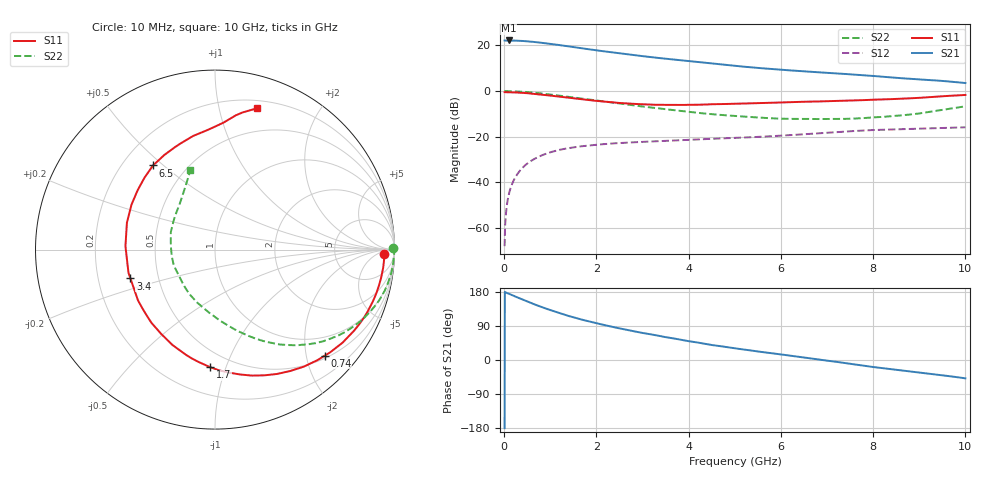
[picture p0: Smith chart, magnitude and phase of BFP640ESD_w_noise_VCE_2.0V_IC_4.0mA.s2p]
! Infineon Technologies  Discrete & RF Semiconductors
! BFP640ESD
! VCE =  2.0 V,  IC =  4.0 mA
! Common Emitter S-Parameters:  Jan 2016
# GHz  S  MA  R  50
!  f  S11  S21  S12  S22
! GHz  MAG  ANG  MAG  ANG  MAG  ANG  MAG  ANG
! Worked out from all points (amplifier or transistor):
!   233 points, 10 MHz to 10 GHz, reference 50 ohm
!   highest |S21| = 22.1 dB at 100 MHz (marker M1)
!   |S21| within 3 dB of that: start of sweep to 1.537 GHz
!   unconditionally stable (mu >= 1): 4.88 GHz to 9.145 GHz
!   at 200 MHz: K = 0.04, MSG = 30.8 dB, |S12| = -39.4 dB
!   at 1.74 GHz: K = 0.40, MSG = 21.3 dB, |S12| = -24.1 dB
!   at 10 GHz: K = 0.82, MSG = 9.7 dB, |S12| = -15.9 dB
!   lowest NFmin = 0.56 dB at 450 MHz
!   S11 on the Smith chart (normalised r, x): 10 MHz: 28, -13; 740 MHz: 0.55, -2.36; 1.7 GHz: 0.38, -0.88; 3.4 GHz: 0.34, -0.15; 6.5 GHz: 0.33, +0.46; 10 GHz: 0.27, +1.30
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0.01  0.9435 -1.6  12.78 -179.9  0.0004 157.3  0.9893 0.5
0.03  0.9432 -2.0  12.73 178.7  0.0016 92.1  0.9989 -1.1
0.1  0.9425 -6.1  12.8 175.0  0.0054 86.3  0.9964 -3.7
0.2  0.9354 -12.2  12.78 169.8  0.0107 82.7  0.9907 -7.6
0.36  0.918 -22.0  12.57 161.5  0.0189 76.8  0.9728 -13.6
0.6  0.8798 -36.1  12.01 149.4  0.0302 68.6  0.9302 -22.0
0.74  0.8505 -44.0  11.61 143.0  0.036 64.1  0.9003 -26.6
0.9  0.8184 -52.9  11.12 135.9  0.0421 59.5  0.8643 -31.6
1.2  0.7524 -68.6  10.15 123.6  0.0515 51.8  0.7916 -40.1
1.4  0.7098 -78.6  9.483 116.1  0.0563 47.3  0.7437 -45.1
1.68  0.6587 -91.5  8.657 106.7  0.0617 42.2  0.6832 -51.2
1.7  0.6554 -92.4  8.602 106.0  0.0621 41.9  0.6791 -51.6
2.2  0.5817 -114.1  7.328 91.4  0.0692 35.1  0.5848 -61.3
2.58  0.5414 -130.1  6.535 81.3  0.0733 31.0  0.5191 -68.4
3  0.5142 -146.5  5.807 71.4  0.077 27.6  0.4583 -76.1
3.4  0.4979 -161.2  5.226 62.8  0.0801 25.3  0.4106 -83.3
4  0.4993 177.8  4.53 49.7  0.0855 22.4  0.3505 -95.9
5.1  0.5303 149.8  3.484 29.2  0.095 17.8  0.2802 -122.5
6.5  0.5822 126.4  2.703 6.5  0.1129 12.8  0.2461 -158.7
6.8  0.5902 121.4  2.578 1.7  0.1182 11.2  0.2434 -166.1
8.4  0.6647 94.3  1.98 -24.5  0.144 -1.9  0.2807 145.4
10  0.8201 73.6  1.496 -48.4  0.1605 -15.0  0.4624 107.3
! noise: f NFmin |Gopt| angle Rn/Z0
0.45  0.56  0.48  10  0.14
0.9  0.59  0.46  23  0.14
1.9  0.68  0.36  48  0.13
2.4  0.72  0.32  65  0.12
5.5  1.15  0.36  -147  0.14
10  2.27  0.65  -83  0.98
